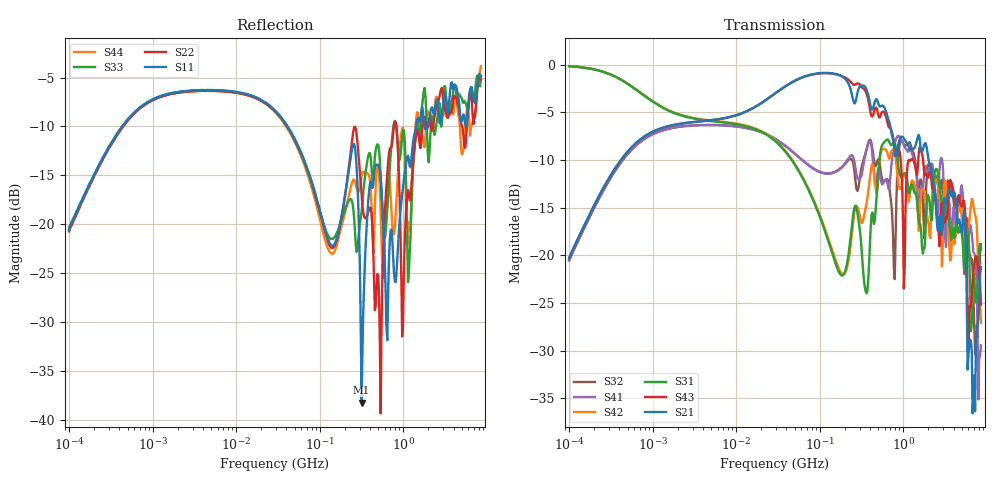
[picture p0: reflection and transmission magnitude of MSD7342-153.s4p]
# MHz S MA R 50
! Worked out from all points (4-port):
!   498 points, 100 kHz to 8.5 GHz, reference 50 ohm
!   strongest paths, dB at 100 kHz, 1.698 MHz, 29.49 MHz, 500.7 MHz, 8.5 GHz:
!     S21: -20.3, -6.4, -3.0, -4.0, -21.2
!     S43: -20.3, -6.4, -3.0, -5.2, -25.2
!     S31: -0.2, -5.0, -8.0, -11.7, -19.4
!     S42: -0.2, -5.0, -8.0, -12.1, -27.1
!     S41: -20.5, -6.7, -7.8, -11.0, -29.4
!     S32: -20.5, -6.7, -7.8, -9.9, -18.8
!   lowest |S11| = -38.3 dB at 317.1 MHz (marker M1), VSWR 1.02, Z = 50.3 - j1.17 ohm
!   |S11| at or under -10 dB: start of sweep to 431.5 kHz; 41.33 MHz to 1.428 GHz (1.386 GHz wide, 189 % of centre); 1.792 GHz to 1.994 GHz (202.1 MHz wide, 10.7 % of centre)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
0.1  0.09367 78.0  0.09657 78.5  0.9793 -5.6  0.09413 -101.9
     0.09657 78.5  0.09187 78.4  0.09389 -101.9  0.9802 -5.5
     0.9793 -5.6  0.09389 -101.9  0.09655 78.7  0.09666 78.6
     0.09413 -101.9  0.9802 -5.5  0.09666 78.6  0.09363 78.2
15.55804  0.4541 -21.2  0.5879 13.8  0.4643 -27.8  0.4575 153.5
          0.5879 13.8  0.4495 -21.0  0.4576 154.0  0.468 -27.6
          0.4643 -27.8  0.4576 154.0  0.4525 -20.8  0.5878 13.8
          0.4575 153.5  0.468 -27.6  0.5878 13.8  0.4481 -21.6
258.1735  0.2577 -63.1  0.6264 -55.7  0.1754 79.5  0.3151 1.5
          0.6264 -55.7  0.3131 -38.2  0.2829 -0.9  0.1644 115.0
          0.1754 79.5  0.2829 -0.9  0.1077 -38.0  0.7816 -59.1
          0.3151 1.5  0.1644 115.0  0.7816 -59.1  0.1693 -20.8
317.0858  0.01219 -72.8  0.7746 -62.6  0.1079 5.4  0.2631 2.5
          0.7746 -62.6  0.1416 -91.8  0.2901 7.9  0.1478 53.7
          0.1079 5.4  0.2901 7.9  0.1156 6.5  0.7609 -74.6
          0.2631 2.5  0.1478 53.7  0.7609 -74.6  0.1786 -25.8
536.1655  0.1715 -112.9  0.604 -103.4  0.3537 4.4  0.2511 -59.2
          0.604 -103.4  0.01076 -5.1  0.2774 -72.0  0.3436 -15.9
          0.3537 4.4  0.2774 -72.0  0.1791 -84.0  0.5416 -107.5
          0.2511 -59.2  0.3436 -15.9  0.5416 -107.5  0.1171 -99.7
4284.188  0.5103 172.3  0.1915 121.3  0.1504 135.1  0.1366 135.0
          0.1915 121.3  0.4469 176.3  0.1806 119.7  0.1289 134.1
          0.1504 135.1  0.1806 119.7  0.4762 176.2  0.1893 128.7
          0.1366 135.0  0.1289 134.1  0.1893 128.7  0.4712 174.5
8500  0.574 -59.2  0.08668 69.7  0.1074 -35.3  0.03374 -29.1
      0.08668 69.7  0.5484 -61.9  0.1146 -36.6  0.04417 -92.4
      0.1074 -35.3  0.1146 -36.6  0.5742 -43.7  0.05525 31.1
      0.03374 -29.1  0.04417 -92.4  0.05525 31.1  0.6438 -59.0
